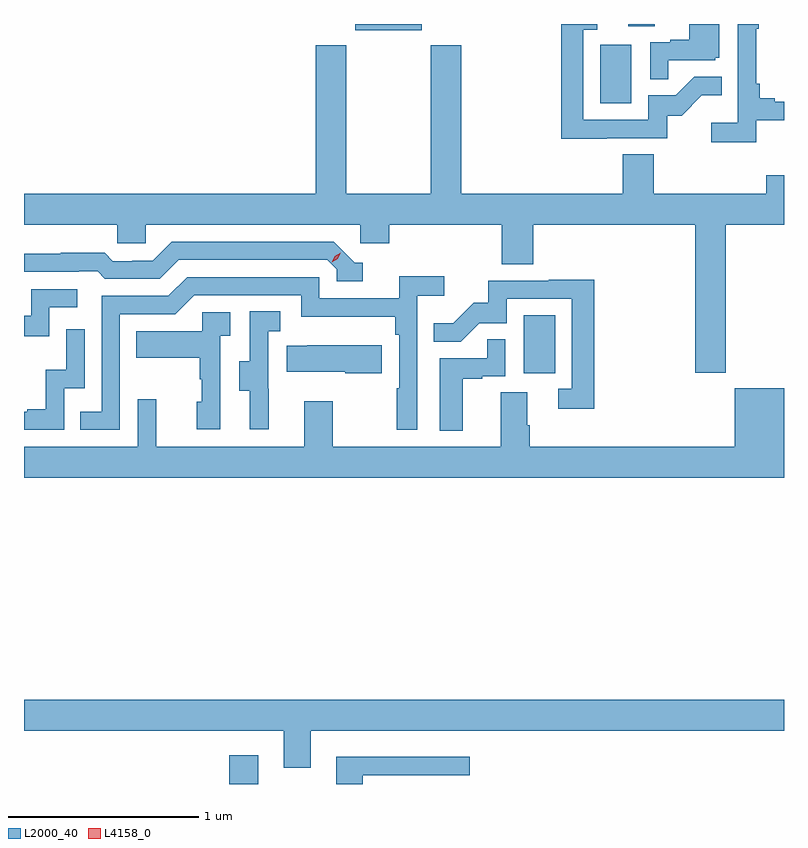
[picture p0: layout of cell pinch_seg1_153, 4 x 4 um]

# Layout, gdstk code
import gdstk
lib = gdstk.Library(unit=1e-6, precision=1e-09)
def R(c, l, rs):  # rectangles x0, y0, x1, y1
    for r in rs: c.add(gdstk.rectangle(r[:2], r[2:], *l))
def P(c, l, *ps):  # polygons
    for p in ps: c.add(gdstk.Polygon(p, *l))
L2000_40 = (2000, 40)
L4158_0 = (4158, 0)

pinch_seg1_153 = lib.new_cell('pinch_seg1_153')
R(pinch_seg1_153, L2000_40, [(1107.533,540.797,1107.685,540.949), (1109.084,542.958,1109.248,543.265), (1109.486,544.38,1109.65,544.687), (1108.196,544.763,1108.546,544.797), (1109.633,544.786,1109.773,544.797)])
P(pinch_seg1_153, L2000_40, [(1109.519,544.197),(1109.838,544.197),(1109.838,544.314),(1109.914,544.314),(1110.021,544.421),(1110.125,544.421),(1110.125,544.52),(1109.981,544.52),(1109.883,544.422),(1109.739,544.422),(1109.739,544.293),(1109.397,544.293),(1109.397,544.767),(1109.47,544.767),(1109.47,544.797),(1109.281,544.797),(1109.281,544.192),(1109.519,544.192)],
  [(1109.843,544.605),(1110.09,544.605),(1110.09,544.62),(1110.112,544.62),(1110.112,544.797),(1109.954,544.797),(1109.954,544.714),(1109.855,544.714),(1109.855,544.701),(1109.748,544.701),(1109.748,544.507),(1109.843,544.507)],
  [(1110.308,544.29),(1110.453,544.29),(1110.453,544.387),(1110.403,544.387),(1110.403,544.406),(1110.326,544.406),(1110.326,544.483),(1110.307,544.483),(1110.307,544.771),(1110.319,544.771),(1110.319,544.797),(1110.21,544.797),(1110.21,544.276),(1110.069,544.276),(1110.069,544.174),(1110.308,544.174)],
  [(1110.147,543.74),(1110.453,543.74),(1110.453,544.002),(1110.359,544.002),(1110.359,543.904),(1109.768,543.904),(1109.768,544.112),(1109.603,544.112),(1109.603,543.904),(1108.754,543.904),(1108.754,544.684),(1108.594,544.684),(1108.594,543.904),(1108.149,543.904),(1108.149,544.684),(1107.989,544.684),(1107.989,543.904),(1106.453,543.904),(1106.453,543.74),(1106.943,543.74),(1106.943,543.642),(1107.093,543.642),(1107.093,543.74),(1108.224,543.74),(1108.224,543.642),(1108.376,543.642),(1108.376,543.74),(1108.967,543.74),(1108.967,543.532),(1109.132,543.532),(1109.132,543.74),(1109.987,543.74),(1109.987,542.961),(1110.147,542.961)],
  [(1108.237,543.54),(1108.194,543.54),(1108.083,543.651),(1107.23,543.651),(1107.131,543.552),(1107.024,543.552),(1107.024,543.549),(1106.921,543.549),(1106.879,543.592),(1106.646,543.592),(1106.646,543.589),(1106.453,543.589),(1106.453,543.492),(1106.741,543.492),(1106.741,543.495),(1106.84,543.495),(1106.879,543.456),(1107.168,543.456),(1107.267,543.555),(1108.05,543.555),(1108.098,543.507),(1108.098,543.444),(1108.237,543.444)],
  [(1106.958,543.27),(1107.249,543.27),(1107.348,543.369),(1107.912,543.369),(1107.912,543.257),(1108.408,543.257),(1108.408,543.161),(1108.428,543.161),(1108.428,542.879),(1108.416,542.879),(1108.416,542.661),(1108.524,542.661),(1108.524,543.368),(1108.666,543.368),(1108.666,543.47),(1108.427,543.47),(1108.427,543.354),(1108.008,543.354),(1108.008,543.465),(1107.311,543.465),(1107.212,543.366),(1106.862,543.366),(1106.862,542.757),(1106.749,542.757),(1106.749,542.661),(1106.958,542.661)],
  [(1109.453,543.452),(1109.215,543.452),(1109.215,543.447),(1108.897,543.447),(1108.897,543.33),(1108.82,543.33),(1108.713,543.223),(1108.609,543.223),(1108.609,543.124),(1108.752,543.124),(1108.85,543.222),(1108.995,543.222),(1108.995,543.351),(1109.337,543.351),(1109.337,542.877),(1109.265,542.877),(1109.265,542.772),(1109.453,542.772)],
  [(1106.586,543.306),(1106.734,543.306),(1106.734,543.402),(1106.49,543.402),(1106.49,543.261),(1106.453,543.261),(1106.453,543.153),(1106.586,543.153)],
  [(1107.74,542.877),(1107.738,542.877),(1107.738,543.181),(1107.802,543.181),(1107.802,543.284),(1107.642,543.284),(1107.642,543.021),(1107.587,543.021),(1107.587,542.866),(1107.641,542.866),(1107.641,542.664),(1107.74,542.664)],
  [(1107.486,543.155),(1107.538,543.155),(1107.538,543.279),(1107.39,543.279),(1107.39,543.181),(1107.043,543.181),(1107.043,543.041),(1107.378,543.041),(1107.378,542.927),(1107.388,542.927),(1107.388,542.808),(1107.362,542.808),(1107.362,542.664),(1107.486,542.664)],
  [(1106.664,542.88),(1106.772,542.88),(1106.772,543.19),(1106.676,543.19),(1106.676,542.978),(1106.567,542.978),(1106.567,542.77),(1106.471,542.77),(1106.471,542.757),(1106.453,542.757),(1106.453,542.661),(1106.664,542.661)],
  [(1108.762,542.931),(1108.865,542.931),(1108.865,542.943),(1108.986,542.943),(1108.986,543.137),(1108.891,543.137),(1108.891,543.039),(1108.64,543.039),(1108.64,542.657),(1108.762,542.657)],
  [(1108.336,543.106),(1107.943,543.106),(1107.943,543.103),(1107.835,543.103),(1107.835,542.966),(1108.145,542.966),(1108.145,542.959),(1108.336,542.959)],
  [(1110.453,542.881),(1110.194,542.881),(1110.194,542.572),(1109.114,542.572),(1109.114,542.684),(1109.101,542.684),(1109.101,542.858),(1108.961,542.858),(1108.961,542.572),(1108.077,542.572),(1108.077,542.812),(1107.929,542.812),(1107.929,542.572),(1107.149,542.572),(1107.149,542.821),(1107.051,542.821),(1107.051,542.572),(1106.453,542.572),(1106.453,542.408),(1110.453,542.408)],
  [(1106.453,541.076),(1107.821,541.076),(1107.821,540.882),(1107.961,540.882),(1107.961,541.076),(1110.453,541.076),(1110.453,541.24),(1106.453,541.24)],
  [(1108.237,540.843),(1108.798,540.843),(1108.798,540.94),(1108.097,540.94),(1108.097,540.797),(1108.237,540.797)])
P(pinch_seg1_153, L4158_0, [(1108.073,543.542),(1108.073,543.542),(1108.089,543.575),(1108.12,543.594),(1108.12,543.594),(1108.12,543.594),(1108.104,543.561),(1108.074,543.542)])

lib.write_gds('pinch_seg1_153.gds')
